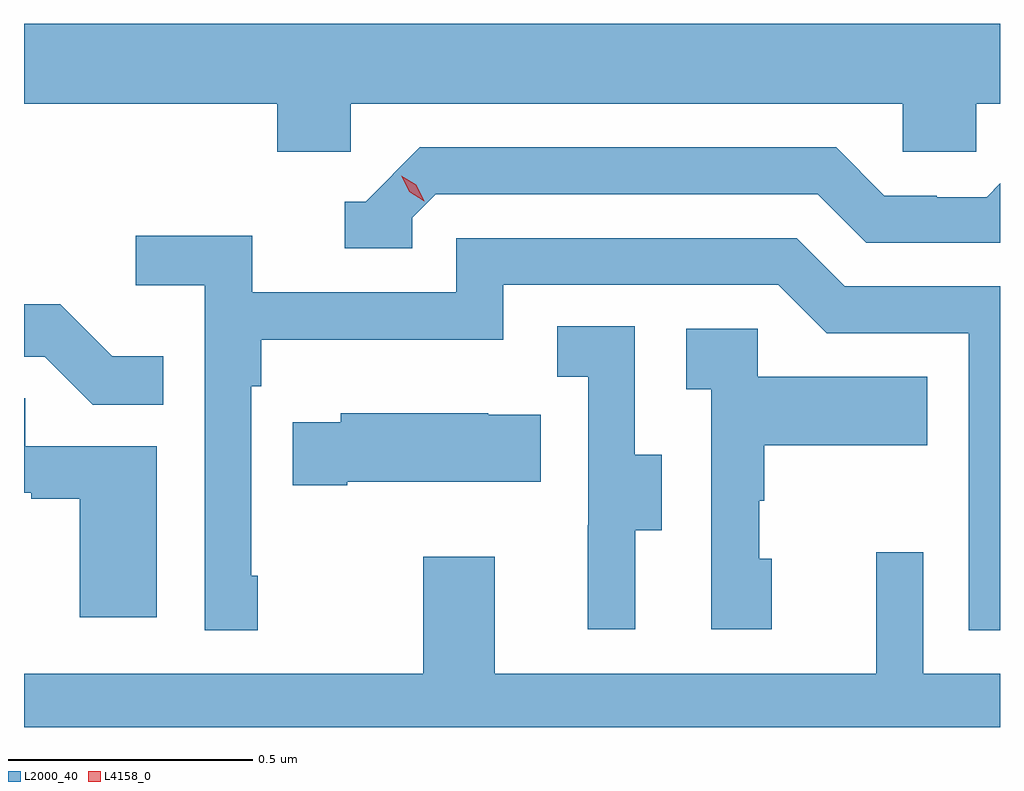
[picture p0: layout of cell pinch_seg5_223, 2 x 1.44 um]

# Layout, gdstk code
import gdstk
lib = gdstk.Library(unit=1e-6, precision=1e-09)
def P(c, l, *ps):  # polygons
    for p in ps: c.add(gdstk.Polygon(p, *l))
L2000_40 = (2000, 40)
L4158_0 = (4158, 0)

pinch_seg5_223 = lib.new_cell('pinch_seg5_223')
P(pinch_seg5_223, L2000_40, [(981.306,906.044),(982.437,906.044),(982.437,905.946),(982.587,905.946),(982.587,906.044),(982.636,906.044),(982.636,906.208),(980.636,906.208),(980.636,906.044),(981.155,906.044),(981.155,905.946),(981.306,905.946)],
  [(981.432,905.811),(981.48,905.859),(982.263,905.859),(982.362,905.76),(982.636,905.76),(982.636,905.881),(982.609,905.853),(982.506,905.853),(982.506,905.856),(982.399,905.856),(982.3,905.955),(981.447,905.955),(981.336,905.844),(981.293,905.844),(981.293,905.748),(981.432,905.748)],
  [(981.115,905.077),(981.102,905.077),(981.102,905.465),(981.122,905.465),(981.122,905.561),(981.618,905.561),(981.618,905.673),(982.182,905.673),(982.281,905.574),(982.572,905.574),(982.572,904.965),(982.636,904.965),(982.636,905.67),(982.318,905.67),(982.219,905.769),(981.522,905.769),(981.522,905.658),(981.104,905.658),(981.104,905.774),(980.865,905.774),(980.865,905.672),(981.006,905.672),(981.006,904.965),(981.115,904.965)],
  [(980.921,905.527),(980.817,905.527),(980.71,905.634),(980.636,905.634),(980.636,905.526),(980.679,905.526),(980.777,905.428),(980.921,905.428)],
  [(981.889,905.17),(981.943,905.17),(981.943,905.325),(981.888,905.325),(981.888,905.588),(981.729,905.588),(981.729,905.485),(981.792,905.485),(981.792,905.181),(981.791,905.181),(981.791,904.968),(981.889,904.968)],
  [(982.168,905.112),(982.143,905.112),(982.143,905.231),(982.153,905.231),(982.153,905.345),(982.487,905.345),(982.487,905.485),(982.14,905.485),(982.14,905.583),(981.993,905.583),(981.993,905.459),(982.044,905.459),(982.044,904.968),(982.168,904.968)],
  [(980.908,905.343),(980.639,905.343),(980.639,905.441),(980.636,905.441),(980.636,905.247),(980.651,905.247),(980.651,905.235),(980.75,905.235),(980.75,904.992),(980.908,904.992)],
  [(981.298,905.27),(981.695,905.27),(981.695,905.407),(981.587,905.407),(981.587,905.41),(981.285,905.41),(981.285,905.392),(981.187,905.392),(981.187,905.263),(981.298,905.263)],
  [(982.636,904.876),(982.479,904.876),(982.479,905.125),(982.382,905.125),(982.382,904.876),(981.601,904.876),(981.601,905.116),(981.454,905.116),(981.454,904.876),(980.636,904.876),(980.636,904.767),(982.636,904.767)])
P(pinch_seg5_223, L4158_0, [(981.456,905.845),(981.425,905.864),(981.409,905.897),(981.409,905.897),(981.409,905.897),(981.44,905.878),(981.456,905.846),(981.456,905.845)])

lib.write_gds('pinch_seg5_223.gds')
